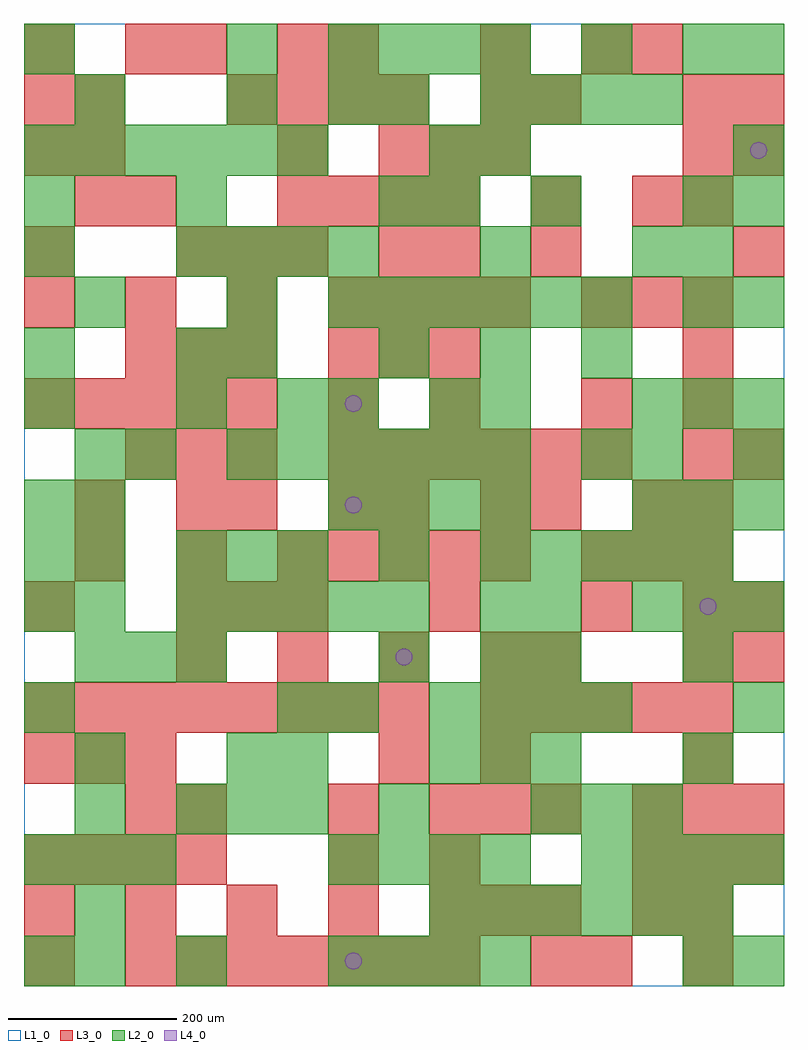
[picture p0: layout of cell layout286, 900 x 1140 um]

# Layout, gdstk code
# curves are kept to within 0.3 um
import gdstk
lib = gdstk.Library(unit=1e-6, precision=1e-09)
def R(c, l, rs):  # rectangles x0, y0, x1, y1
    for r in rs: c.add(gdstk.rectangle(r[:2], r[2:], *l))
def A(c, l, x, y, w, h, nx, ny, dx, dy):  # array of equal rectangles
    R(c, l, [(x+i*dx, y+j*dy, x+i*dx+w, y+j*dy+h) for i in range(nx) for j in range(ny)])
def P(c, l, *ps):  # polygons
    for p in ps: c.add(gdstk.Polygon(p, *l))
L1_0 = (1, 0)
L2_0 = (2, 0)
L3_0 = (3, 0)
L4_0 = (4, 0)

layout286 = lib.new_cell('layout286')
R(layout286, L1_0, [(0,0,900,1140)])
A(layout286, L2_0, 360, 0, 60, 60, 4, 2, 60, 120)
A(layout286, L2_0, 840, 0, 60, 60, 1, 3, 0, 300)
A(layout286, L2_0, 480, 60, 60, 60, 6, 1, 60, 0)
A(layout286, L2_0, 0, 120, 60, 60, 3, 1, 60, 0)
A(layout286, L2_0, 660, 120, 60, 60, 4, 1, 60, 0)
A(layout286, L2_0, 180, 180, 60, 60, 3, 2, 60, 300)
A(layout286, L2_0, 600, 180, 60, 60, 3, 1, 60, 0)
A(layout286, L2_0, 480, 240, 60, 60, 3, 1, 60, 0)
A(layout286, L2_0, 360, 300, 60, 60, 1, 3, 0, 360)
A(layout286, L2_0, 480, 300, 60, 60, 4, 1, 60, 0)
A(layout286, L2_0, 60, 360, 60, 60, 3, 1, 60, 0)
A(layout286, L2_0, 0, 420, 60, 60, 1, 3, 0, 60)
A(layout286, L2_0, 60, 420, 60, 60, 1, 4, 0, 60)
A(layout286, L2_0, 180, 420, 60, 60, 5, 1, 60, 0)
A(layout286, L2_0, 720, 420, 60, 60, 3, 3, 60, 120)
A(layout286, L2_0, 540, 480, 60, 60, 5, 1, 60, 0)
A(layout286, L2_0, 360, 540, 60, 60, 4, 2, 60, 540)
A(layout286, L2_0, 240, 600, 60, 60, 6, 1, 60, 0)
A(layout286, L2_0, 420, 720, 60, 60, 3, 1, 120, 0)
A(layout286, L2_0, 360, 780, 60, 60, 6, 1, 60, 0)
A(layout286, L2_0, 780, 780, 60, 60, 1, 3, 0, 60)
A(layout286, L2_0, 180, 840, 60, 60, 4, 1, 60, 0)
A(layout286, L2_0, 0, 960, 60, 60, 6, 1, 60, 0)
A(layout286, L2_0, 540, 1020, 60, 60, 4, 1, 60, 0)
R(layout286, L2_0, [(0,0,60,60), (60,0,120,60), (180,0,240,60), (780,0,840,60), (60,60,120,120), (60,180,120,240), (420,180,480,240), (60,240,120,300), (240,240,300,300), (300,240,360,300), (780,240,840,300), (0,300,60,360), (300,300,360,360), (420,360,480,420), (540,360,600,420), (600,360,660,420), (780,360,840,420), (540,420,600,480), (600,420,660,480), (420,480,480,540), (120,600,180,660), (660,600,720,660), (720,600,780,660), (0,660,60,720), (180,660,240,720), (300,660,360,720), (480,660,540,720), (540,660,600,720), (0,720,60,780), (180,720,240,780), (240,720,300,780), (60,780,120,840), (240,780,300,840), (840,780,900,840), (0,840,60,900), (540,840,600,900), (720,840,780,900), (0,900,60,960), (180,900,240,960), (420,900,480,960), (480,900,540,960), (600,900,660,960), (840,900,900,960), (480,960,540,1020), (540,960,600,1020), (840,960,900,1020), (60,1020,120,1080), (240,1020,300,1080), (420,1020,480,1080), (0,1080,60,1140), (240,1080,300,1140), (660,1080,720,1140), (780,1080,840,1140), (840,1080,900,1140)])
A(layout286, L3_0, 0, 0, 60, 60, 1, 3, 0, 420)
A(layout286, L3_0, 120, 0, 60, 60, 7, 1, 60, 0)
A(layout286, L3_0, 0, 60, 60, 60, 5, 1, 120, 0)
A(layout286, L3_0, 0, 120, 60, 60, 4, 1, 60, 0)
A(layout286, L3_0, 720, 120, 60, 60, 3, 2, 60, 60)
A(layout286, L3_0, 480, 180, 60, 60, 3, 1, 60, 0)
A(layout286, L3_0, 0, 240, 60, 60, 3, 1, 60, 0)
A(layout286, L3_0, 420, 240, 60, 60, 1, 3, 0, 300)
A(layout286, L3_0, 0, 300, 60, 60, 8, 1, 60, 0)
A(layout286, L3_0, 540, 300, 60, 60, 5, 1, 60, 0)
A(layout286, L3_0, 180, 360, 60, 60, 4, 1, 120, 0)
A(layout286, L3_0, 180, 420, 60, 60, 3, 2, 60, 420)
A(layout286, L3_0, 60, 480, 60, 60, 3, 1, 120, 0)
A(layout286, L3_0, 360, 480, 60, 60, 4, 1, 60, 0)
A(layout286, L3_0, 660, 480, 60, 60, 3, 2, 60, 300)
A(layout286, L3_0, 780, 540, 60, 60, 1, 4, 0, 60)
A(layout286, L3_0, 120, 600, 60, 60, 3, 2, 60, 120)
A(layout286, L3_0, 360, 600, 60, 60, 6, 1, 60, 0)
A(layout286, L3_0, 0, 660, 60, 60, 5, 1, 60, 0)
A(layout286, L3_0, 360, 720, 60, 60, 3, 1, 60, 0)
A(layout286, L3_0, 0, 780, 60, 60, 4, 1, 120, 0)
A(layout286, L3_0, 420, 780, 60, 60, 3, 2, 60, 180)
A(layout286, L3_0, 60, 900, 60, 60, 1, 3, 0, 60)
A(layout286, L3_0, 300, 900, 60, 60, 4, 1, 60, 0)
A(layout286, L3_0, 780, 900, 60, 60, 1, 3, 0, 60)
A(layout286, L3_0, 0, 960, 60, 60, 1, 3, 0, 60)
A(layout286, L3_0, 240, 1020, 60, 60, 4, 1, 60, 0)
R(layout286, L3_0, [(600,0,660,60), (660,0,720,60), (780,0,840,60), (540,60,600,120), (600,60,660,120), (720,60,780,120), (780,60,840,120), (360,120,420,180), (480,120,540,180), (120,180,180,240), (180,180,240,240), (360,180,420,240), (540,240,600,300), (780,240,840,300), (600,360,660,420), (780,360,840,420), (840,360,900,420), (480,420,540,480), (660,420,720,480), (780,420,840,480), (840,420,900,480), (60,540,120,600), (180,540,240,600), (240,540,300,600), (360,540,420,600), (540,540,600,600), (600,540,660,600), (720,540,780,600), (840,600,900,660), (360,660,420,720), (480,660,540,720), (660,660,720,720), (480,840,540,900), (600,840,660,900), (840,840,900,900), (120,900,180,960), (600,900,660,960), (720,900,780,960), (300,960,360,1020), (840,960,900,1020), (540,1020,600,1080), (600,1020,660,1080), (840,1020,900,1080), (120,1080,180,1140), (180,1080,240,1140), (300,1080,360,1140), (360,1080,420,1140), (540,1080,600,1140), (660,1080,720,1140), (720,1080,780,1140)])
P(layout286, L4_0, [(400,30),(399.239,33.827),(397.071,37.071),(393.827,39.239),(390,40),(386.173,39.239),(382.929,37.071),(380.761,33.827),(380,30),(380.761,26.173),(382.929,22.929),(386.173,20.761),(390,20),(393.827,20.761),(397.071,22.929),(399.239,26.173)],
  [(400,570),(399.239,573.827),(397.071,577.071),(393.827,579.239),(390,580),(386.173,579.239),(382.929,577.071),(380.761,573.827),(380,570),(380.761,566.173),(382.929,562.929),(386.173,560.761),(390,560),(393.827,560.761),(397.071,562.929),(399.239,566.173)],
  [(400,690),(399.239,693.827),(397.071,697.071),(393.827,699.239),(390,700),(386.173,699.239),(382.929,697.071),(380.761,693.827),(380,690),(380.761,686.173),(382.929,682.929),(386.173,680.761),(390,680),(393.827,680.761),(397.071,682.929),(399.239,686.173)],
  [(460,390),(459.239,393.827),(457.071,397.071),(453.827,399.239),(450,400),(446.173,399.239),(442.929,397.071),(440.761,393.827),(440,390),(440.761,386.173),(442.929,382.929),(446.173,380.761),(450,380),(453.827,380.761),(457.071,382.929),(459.239,386.173)],
  [(820,450),(819.239,453.827),(817.071,457.071),(813.827,459.239),(810,460),(806.173,459.239),(802.929,457.071),(800.761,453.827),(800,450),(800.761,446.173),(802.929,442.929),(806.173,440.761),(810,440),(813.827,440.761),(817.071,442.929),(819.239,446.173)],
  [(880,990),(879.239,993.827),(877.071,997.071),(873.827,999.239),(870,1000),(866.173,999.239),(862.929,997.071),(860.761,993.827),(860,990),(860.761,986.173),(862.929,982.929),(866.173,980.761),(870,980),(873.827,980.761),(877.071,982.929),(879.239,986.173)])

lib.write_gds('layout286.gds')
